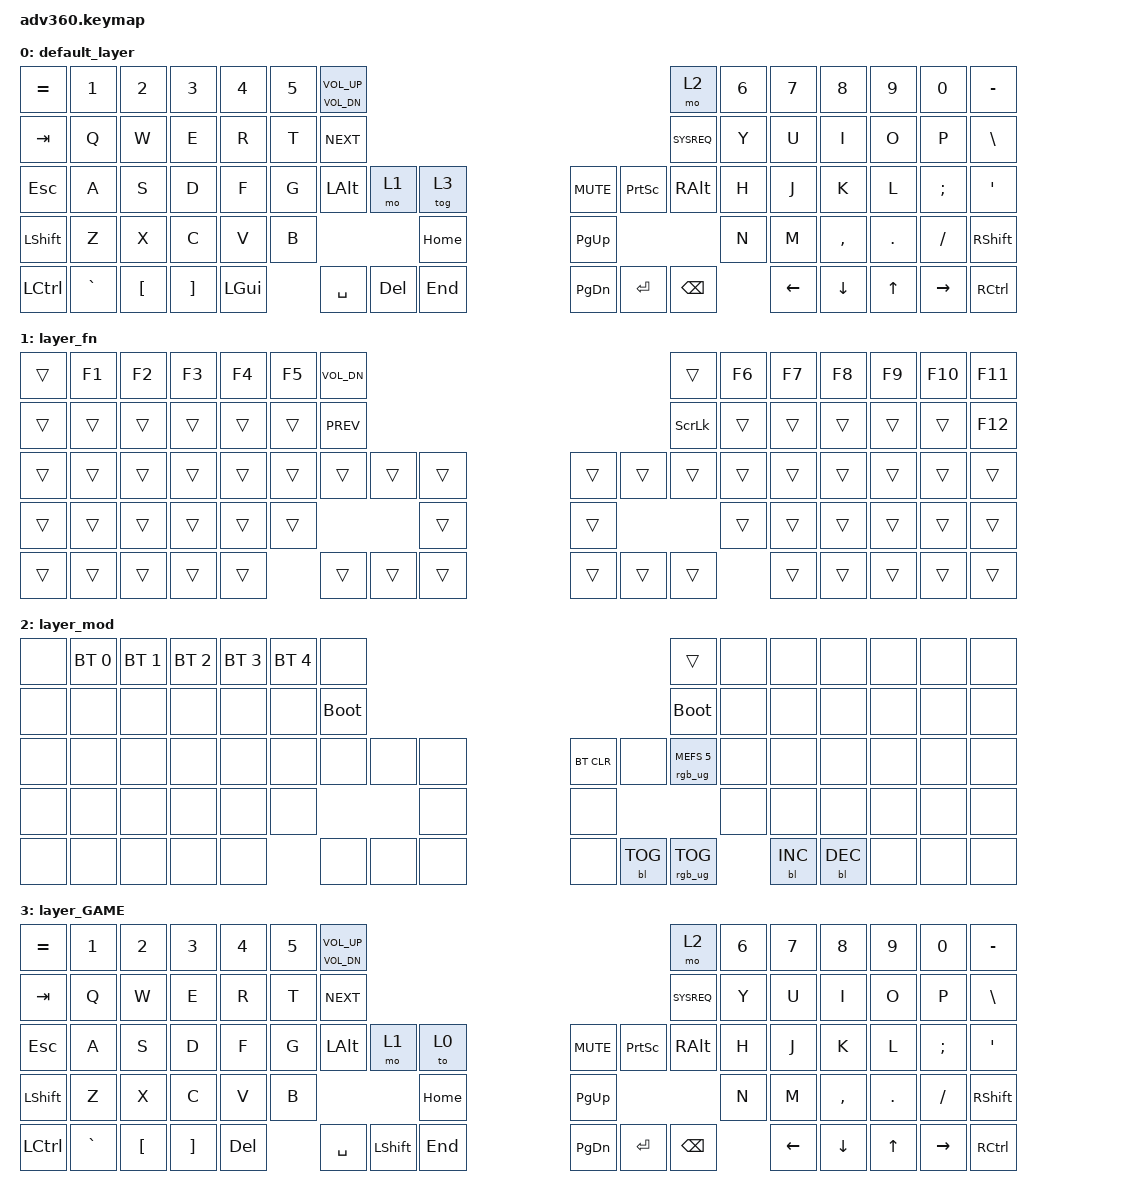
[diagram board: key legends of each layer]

/*
 * Copyright (c) 2020 The ZMK Contributors
 *
 * SPDX-License-Identifier: MIT
 */


/* THIS FILE WAS GENERATED!
 *
 * This file was generated automatically. You may or may not want to
 * edit it directly.
 */

#include <behaviors.dtsi>
#include <dt-bindings/zmk/keys.h>
#include <dt-bindings/zmk/bt.h>
#include <dt-bindings/zmk/rgb.h>
#include <dt-bindings/zmk/backlight.h>

/ {
  behaviors {
    #include "macros.dtsi"
    #include "version.dtsi"

    hm: homerow_mods {
        compatible = "zmk,behavior-hold-tap";
        label = "HOMEROW_MODS";
        #binding-cells = <2>;
        tapping-term-ms = <200>;
        quick_tap_ms = <175>;
        flavor = "tap-preferred";
        bindings = <&kp>, <&kp>;
    };
  };

    keymap {
        compatible = "zmk,keymap";


        default_layer {
            bindings = <
 &kp EQUAL     &kp N1            &kp N2             &kp N3    &kp N4  &kp N5            &mt C_VOL_DN C_VOL_UP                                                                          &mo 2  &kp N6    &kp N7     &kp N8   &kp N9     &kp N0  &kp MINUS
   &kp TAB      &kp Q             &kp W              &kp E     &kp R   &kp T                       &kp C_NEXT                                                                     &kp SYSREQ   &kp Y     &kp U      &kp I    &kp O      &kp P   &kp BSLH
   &kp ESC      &kp A             &kp S              &kp D     &kp F   &kp G                         &kp LALT    &mo 1    &tog 3                  &kp C_MUTE  &kp PRINTSCREEN       &kp RALT   &kp H     &kp J      &kp K    &kp L   &kp SEMI    &kp SQT
 &kp LSHFT      &kp Z             &kp X              &kp C     &kp V   &kp B                                            &kp HOME                   &kp PG_UP                                   &kp N     &kp M  &kp COMMA  &kp DOT   &kp FSLH  &kp RSHFT
 &kp LCTRL  &kp GRAVE  &kp LEFT_BRACKET  &kp RIGHT_BRACKET  &kp LGUI                                &kp SPACE  &kp DEL   &kp END                   &kp PG_DN        &kp ENTER  &kp BACKSPACE          &kp LEFT   &kp DOWN   &kp UP  &kp RIGHT  &kp RCTRL
            >;
        };

        layer_fn {
            bindings = <
 &trans  &kp F1  &kp F2  &kp F3  &kp F4  &kp F5            &kp C_VOL_DN                                                          &trans  &kp F6  &kp F7  &kp F8  &kp F9  &kp F10  &kp F11
 &trans  &trans  &trans  &trans  &trans  &trans              &kp C_PREV                                                  &kp SCROLLLOCK  &trans  &trans  &trans  &trans   &trans  &kp F12
 &trans  &trans  &trans  &trans  &trans  &trans                  &trans  &trans  &trans                  &trans  &trans          &trans  &trans  &trans  &trans  &trans   &trans   &trans
 &trans  &trans  &trans  &trans  &trans  &trans                                  &trans                  &trans                          &trans  &trans  &trans  &trans   &trans   &trans
 &trans  &trans  &trans  &trans  &trans                          &trans  &trans  &trans                  &trans  &trans          &trans          &trans  &trans  &trans   &trans   &trans
            >;
        };

        layer_mod {
            bindings = <
  &none  &bt BT_SEL 0  &bt BT_SEL 1  &bt BT_SEL 2  &bt BT_SEL 3  &bt BT_SEL 4                  &none                                                                          &trans   &none       &none       &none   &none   &none   &none
  &none         &none         &none         &none         &none         &none            &bootloader                                                                     &bootloader   &none       &none       &none   &none   &none   &none
  &none         &none         &none         &none         &none         &none                  &none   &none   &none                  &bt BT_CLR       &none  &rgb_ug RGB_MEFS_CMD 5   &none       &none       &none   &none   &none   &none
  &none         &none         &none         &none         &none         &none                                  &none                       &none                                       &none       &none       &none   &none   &none   &none
  &none         &none         &none         &none         &none                                &none   &none   &none                       &none  &bl BL_TOG         &rgb_ug RGB_TOG          &bl BL_INC  &bl BL_DEC   &none   &none   &none
            >;
        };

        layer_GAME {
            bindings = <
  &kp EQUAL     &kp N1            &kp N2             &kp N3   &kp N4  &kp N5            &mt C_VOL_DN C_VOL_UP                                                                                &mo 2  &kp N6          &kp N7          &kp N8        &kp N9           &kp N0       &kp MINUS
    &kp TAB      &kp Q             &kp W              &kp E    &kp R   &kp T                       &kp C_NEXT                                                                           &kp SYSREQ   &kp Y           &kp U           &kp I         &kp O            &kp P   &kp BACKSLASH
    &kp ESC      &kp A             &kp S              &kp D    &kp F   &kp G                     &kp LEFT_ALT       &mo 1     &to 0                     &kp C_MUTE  &kp PRINTSCREEN  &kp RIGHT_ALT   &kp H           &kp J           &kp K         &kp L    &kp SEMICOLON  &kp APOSTROPHE
 &kp LSHIFT      &kp Z             &kp X              &kp C    &kp V   &kp B                                               &kp HOME                      &kp PG_UP                                   &kp N           &kp M       &kp COMMA    &kp PERIOD        &kp SLASH      &kp RSHIFT
  &kp LCTRL  &kp GRAVE  &kp LEFT_BRACKET  &kp RIGHT_BRACKET  &kp DEL                                &kp SPACE  &kp LSHIFT   &kp END                  &kp PAGE_DOWN        &kp ENTER  &kp BACKSPACE          &kp LEFT_ARROW  &kp DOWN_ARROW  &kp UP_ARROW  &kp RIGHT_ARROW       &kp RCTRL
            >;
        };

    };
};
